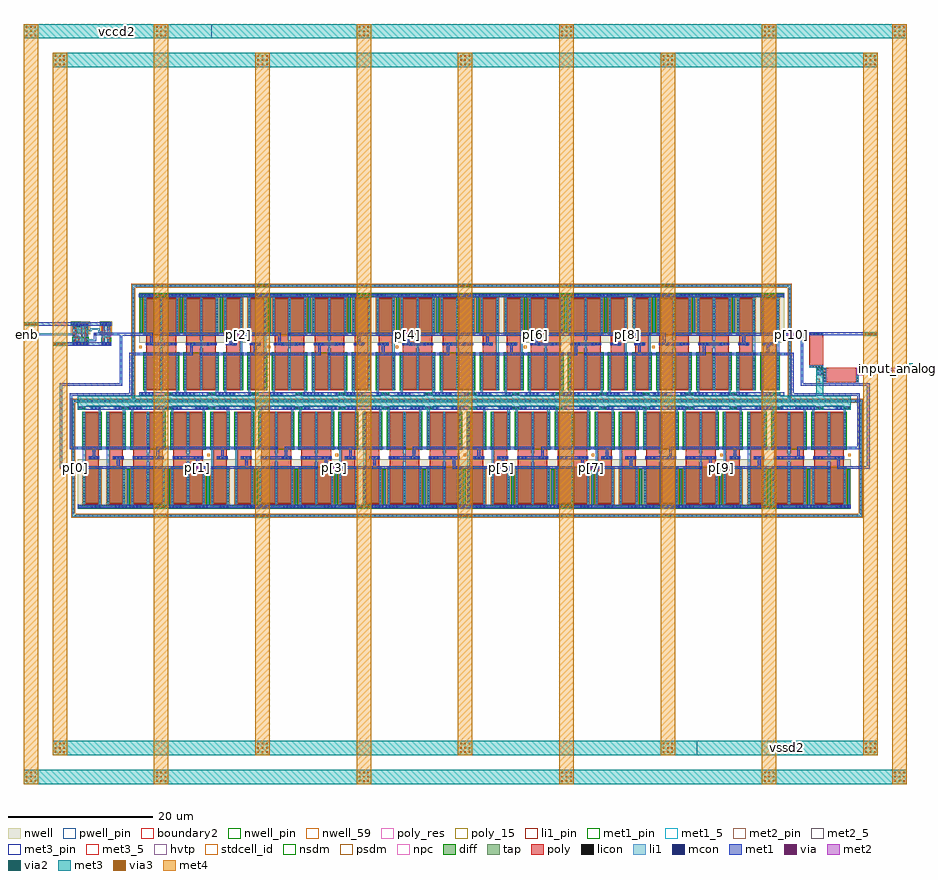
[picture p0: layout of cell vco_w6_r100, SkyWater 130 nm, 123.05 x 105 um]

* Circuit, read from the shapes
.subckt vco_w6_r100 enb input_analog p[0] p[10] p[1] p[2] p[3] p[4] p[5] p[6] p[7] p[8] p[9] vccd2 vssd2
XM1 vssd2 enb n1 vssd2 sky130_fd_pr__nfet_01v8 w=0.42 l=0.15
XM2 n2 enb vssd2 vssd2 sky130_fd_pr__nfet_01v8 w=0.65 l=0.15
XM3 p[0] vccd2 n2 vssd2 sky130_fd_pr__nfet_01v8 w=0.65 l=0.15
XM4 ring_osc_w6_0/v_ctr ring_osc_w6_0/pn[5] p[0] vssd2 sky130_fd_pr__nfet_01v8 w=5 l=1.9
XM5 ring_osc_w6_0/v_ctr p[0] ring_osc_w6_0/pn[5] vssd2 sky130_fd_pr__nfet_01v8 w=5 l=1.9
XM6 ring_osc_w6_0/pn[5] ring_osc_w6_0/pn[4] ring_osc_w6_0/v_ctr vssd2 sky130_fd_pr__nfet_01v8 w=5 l=1.9 m=2
XM7 p[2] p[0] ring_osc_w6_0/v_ctr vssd2 sky130_fd_pr__nfet_01v8 w=5 l=1.9 m=2
XM8 p[0] p[1] ring_osc_w6_0/v_ctr vssd2 sky130_fd_pr__nfet_01v8 w=5 l=1.9 m=2
XM9 ring_osc_w6_0/pn[6] ring_osc_w6_0/pn[5] ring_osc_w6_0/v_ctr vssd2 sky130_fd_pr__nfet_01v8 w=5 l=1.9 m=2
XM10 ring_osc_w6_0/v_ctr ring_osc_w6_0/pn[4] p[1] vssd2 sky130_fd_pr__nfet_01v8 w=5 l=1.9
XM11 ring_osc_w6_0/pn[6] p[2] ring_osc_w6_0/v_ctr vssd2 sky130_fd_pr__nfet_01v8 w=5 l=1.9
XM12 ring_osc_w6_0/v_ctr p[1] ring_osc_w6_0/pn[4] vssd2 sky130_fd_pr__nfet_01v8 w=5 l=1.9
XM13 p[2] ring_osc_w6_0/pn[6] ring_osc_w6_0/v_ctr vssd2 sky130_fd_pr__nfet_01v8 w=5 l=1.9
XM14 ring_osc_w6_0/pn[4] ring_osc_w6_0/pn[3] ring_osc_w6_0/v_ctr vssd2 sky130_fd_pr__nfet_01v8 w=5 l=1.9 m=2
XM15 p[4] p[2] ring_osc_w6_0/v_ctr vssd2 sky130_fd_pr__nfet_01v8 w=5 l=1.9 m=2
XM16 p[1] p[3] ring_osc_w6_0/v_ctr vssd2 sky130_fd_pr__nfet_01v8 w=5 l=1.9 m=2
XM17 ring_osc_w6_0/pn[7] ring_osc_w6_0/pn[6] ring_osc_w6_0/v_ctr vssd2 sky130_fd_pr__nfet_01v8 w=5 l=1.9 m=2
XM18 ring_osc_w6_0/v_ctr ring_osc_w6_0/pn[3] p[3] vssd2 sky130_fd_pr__nfet_01v8 w=5 l=1.9
XM19 ring_osc_w6_0/pn[7] p[4] ring_osc_w6_0/v_ctr vssd2 sky130_fd_pr__nfet_01v8 w=5 l=1.9
XM20 ring_osc_w6_0/v_ctr p[3] ring_osc_w6_0/pn[3] vssd2 sky130_fd_pr__nfet_01v8 w=5 l=1.9
XM21 p[4] ring_osc_w6_0/pn[7] ring_osc_w6_0/v_ctr vssd2 sky130_fd_pr__nfet_01v8 w=5 l=1.9
XM22 ring_osc_w6_0/pn[3] ring_osc_w6_0/pn[2] ring_osc_w6_0/v_ctr vssd2 sky130_fd_pr__nfet_01v8 w=5 l=1.9 m=2
XM23 p[6] p[4] ring_osc_w6_0/v_ctr vssd2 sky130_fd_pr__nfet_01v8 w=5 l=1.9 m=2
XM24 p[3] p[5] ring_osc_w6_0/v_ctr vssd2 sky130_fd_pr__nfet_01v8 w=5 l=1.9 m=2
XM25 ring_osc_w6_0/pn[8] ring_osc_w6_0/pn[7] ring_osc_w6_0/v_ctr vssd2 sky130_fd_pr__nfet_01v8 w=5 l=1.9 m=2
XM26 ring_osc_w6_0/v_ctr ring_osc_w6_0/pn[2] p[5] vssd2 sky130_fd_pr__nfet_01v8 w=5 l=1.9
XM27 ring_osc_w6_0/pn[8] p[6] ring_osc_w6_0/v_ctr vssd2 sky130_fd_pr__nfet_01v8 w=5 l=1.9
XM28 ring_osc_w6_0/v_ctr p[5] ring_osc_w6_0/pn[2] vssd2 sky130_fd_pr__nfet_01v8 w=5 l=1.9
XM29 p[6] ring_osc_w6_0/pn[8] ring_osc_w6_0/v_ctr vssd2 sky130_fd_pr__nfet_01v8 w=5 l=1.9
XM30 ring_osc_w6_0/pn[2] ring_osc_w6_0/pn[1] ring_osc_w6_0/v_ctr vssd2 sky130_fd_pr__nfet_01v8 w=5 l=1.9 m=2
XM31 p[8] p[6] ring_osc_w6_0/v_ctr vssd2 sky130_fd_pr__nfet_01v8 w=5 l=1.9 m=2
XM32 p[5] p[7] ring_osc_w6_0/v_ctr vssd2 sky130_fd_pr__nfet_01v8 w=5 l=1.9 m=2
XM33 ring_osc_w6_0/pn[9] ring_osc_w6_0/pn[8] ring_osc_w6_0/v_ctr vssd2 sky130_fd_pr__nfet_01v8 w=5 l=1.9 m=2
XM34 ring_osc_w6_0/v_ctr ring_osc_w6_0/pn[1] p[7] vssd2 sky130_fd_pr__nfet_01v8 w=5 l=1.9
XM35 ring_osc_w6_0/pn[9] p[8] ring_osc_w6_0/v_ctr vssd2 sky130_fd_pr__nfet_01v8 w=5 l=1.9
XM36 ring_osc_w6_0/v_ctr p[7] ring_osc_w6_0/pn[1] vssd2 sky130_fd_pr__nfet_01v8 w=5 l=1.9
XM37 p[8] ring_osc_w6_0/pn[9] ring_osc_w6_0/v_ctr vssd2 sky130_fd_pr__nfet_01v8 w=5 l=1.9
XM38 ring_osc_w6_0/pn[1] ring_osc_w6_0/pn[0] ring_osc_w6_0/v_ctr vssd2 sky130_fd_pr__nfet_01v8 w=5 l=1.9 m=2
XM39 p[10] p[8] ring_osc_w6_0/v_ctr vssd2 sky130_fd_pr__nfet_01v8 w=5 l=1.9 m=2
XM40 p[7] p[9] ring_osc_w6_0/v_ctr vssd2 sky130_fd_pr__nfet_01v8 w=5 l=1.9 m=2
XM41 ring_osc_w6_0/pn[10] ring_osc_w6_0/pn[9] ring_osc_w6_0/v_ctr vssd2 sky130_fd_pr__nfet_01v8 w=5 l=1.9 m=2
XM42 ring_osc_w6_0/v_ctr ring_osc_w6_0/pn[0] p[9] vssd2 sky130_fd_pr__nfet_01v8 w=5 l=1.9
XM43 ring_osc_w6_0/pn[10] p[10] ring_osc_w6_0/v_ctr vssd2 sky130_fd_pr__nfet_01v8 w=5 l=1.9
XM44 ring_osc_w6_0/v_ctr p[9] ring_osc_w6_0/pn[0] vssd2 sky130_fd_pr__nfet_01v8 w=5 l=1.9
XM45 p[10] ring_osc_w6_0/pn[10] ring_osc_w6_0/v_ctr vssd2 sky130_fd_pr__nfet_01v8 w=5 l=1.9
XM46 ring_osc_w6_0/pn[0] ring_osc_w6_0/pn[10] ring_osc_w6_0/v_ctr vssd2 sky130_fd_pr__nfet_01v8 w=5 l=1.9 m=2
XM47 p[9] p[10] ring_osc_w6_0/v_ctr vssd2 sky130_fd_pr__nfet_01v8 w=5 l=1.9 m=2
XM48 vccd2 enb n1 vccd2 sky130_fd_pr__pfet_01v8_hvt w=0.42 l=0.15
XM49 n3 n1 vccd2 vccd2 sky130_fd_pr__pfet_01v8_hvt w=1 l=0.15
XM50 p[0] vccd2 n3 vccd2 sky130_fd_pr__pfet_01v8_hvt w=1 l=0.15
XM51 vccd2 ring_osc_w6_0/pn[5] p[0] vccd2 sky130_fd_pr__pfet_01v8 w=5 l=1.9
XM52 vccd2 p[0] ring_osc_w6_0/pn[5] vccd2 sky130_fd_pr__pfet_01v8 w=5 l=1.9
XM53 ring_osc_w6_0/pn[5] ring_osc_w6_0/pn[4] vccd2 vccd2 sky130_fd_pr__pfet_01v8 w=5 l=1.9 m=2
XM54 p[2] p[0] vccd2 vccd2 sky130_fd_pr__pfet_01v8 w=5 l=1.9 m=2
XM55 p[0] p[1] vccd2 vccd2 sky130_fd_pr__pfet_01v8 w=5 l=1.9 m=2
XM56 ring_osc_w6_0/pn[6] ring_osc_w6_0/pn[5] vccd2 vccd2 sky130_fd_pr__pfet_01v8 w=5 l=1.9 m=2
XM57 vccd2 ring_osc_w6_0/pn[4] p[1] vccd2 sky130_fd_pr__pfet_01v8 w=5 l=1.9
XM58 ring_osc_w6_0/pn[6] p[2] vccd2 vccd2 sky130_fd_pr__pfet_01v8 w=5 l=1.9
XM59 vccd2 p[1] ring_osc_w6_0/pn[4] vccd2 sky130_fd_pr__pfet_01v8 w=5 l=1.9
XM60 p[2] ring_osc_w6_0/pn[6] vccd2 vccd2 sky130_fd_pr__pfet_01v8 w=5 l=1.9
XM61 ring_osc_w6_0/pn[4] ring_osc_w6_0/pn[3] vccd2 vccd2 sky130_fd_pr__pfet_01v8 w=5 l=1.9 m=2
XM62 p[4] p[2] vccd2 vccd2 sky130_fd_pr__pfet_01v8 w=5 l=1.9 m=2
XM63 p[1] p[3] vccd2 vccd2 sky130_fd_pr__pfet_01v8 w=5 l=1.9 m=2
XM64 ring_osc_w6_0/pn[7] ring_osc_w6_0/pn[6] vccd2 vccd2 sky130_fd_pr__pfet_01v8 w=5 l=1.9 m=2
XM65 vccd2 ring_osc_w6_0/pn[3] p[3] vccd2 sky130_fd_pr__pfet_01v8 w=5 l=1.9
XM66 ring_osc_w6_0/pn[7] p[4] vccd2 vccd2 sky130_fd_pr__pfet_01v8 w=5 l=1.9
XM67 vccd2 p[3] ring_osc_w6_0/pn[3] vccd2 sky130_fd_pr__pfet_01v8 w=5 l=1.9
XM68 p[4] ring_osc_w6_0/pn[7] vccd2 vccd2 sky130_fd_pr__pfet_01v8 w=5 l=1.9
XM69 ring_osc_w6_0/pn[3] ring_osc_w6_0/pn[2] vccd2 vccd2 sky130_fd_pr__pfet_01v8 w=5 l=1.9 m=2
XM70 p[6] p[4] vccd2 vccd2 sky130_fd_pr__pfet_01v8 w=5 l=1.9 m=2
XM71 p[3] p[5] vccd2 vccd2 sky130_fd_pr__pfet_01v8 w=5 l=1.9 m=2
XM72 ring_osc_w6_0/pn[8] ring_osc_w6_0/pn[7] vccd2 vccd2 sky130_fd_pr__pfet_01v8 w=5 l=1.9 m=2
XM73 vccd2 ring_osc_w6_0/pn[2] p[5] vccd2 sky130_fd_pr__pfet_01v8 w=5 l=1.9
XM74 ring_osc_w6_0/pn[8] p[6] vccd2 vccd2 sky130_fd_pr__pfet_01v8 w=5 l=1.9
XM75 vccd2 p[5] ring_osc_w6_0/pn[2] vccd2 sky130_fd_pr__pfet_01v8 w=5 l=1.9
XM76 p[6] ring_osc_w6_0/pn[8] vccd2 vccd2 sky130_fd_pr__pfet_01v8 w=5 l=1.9
XM77 ring_osc_w6_0/pn[2] ring_osc_w6_0/pn[1] vccd2 vccd2 sky130_fd_pr__pfet_01v8 w=5 l=1.9 m=2
XM78 p[8] p[6] vccd2 vccd2 sky130_fd_pr__pfet_01v8 w=5 l=1.9 m=2
XM79 p[5] p[7] vccd2 vccd2 sky130_fd_pr__pfet_01v8 w=5 l=1.9 m=2
XM80 ring_osc_w6_0/pn[9] ring_osc_w6_0/pn[8] vccd2 vccd2 sky130_fd_pr__pfet_01v8 w=5 l=1.9 m=2
XM81 vccd2 ring_osc_w6_0/pn[1] p[7] vccd2 sky130_fd_pr__pfet_01v8 w=5 l=1.9
XM82 ring_osc_w6_0/pn[9] p[8] vccd2 vccd2 sky130_fd_pr__pfet_01v8 w=5 l=1.9
XM83 vccd2 p[7] ring_osc_w6_0/pn[1] vccd2 sky130_fd_pr__pfet_01v8 w=5 l=1.9
XM84 p[8] ring_osc_w6_0/pn[9] vccd2 vccd2 sky130_fd_pr__pfet_01v8 w=5 l=1.9
XM85 ring_osc_w6_0/pn[1] ring_osc_w6_0/pn[0] vccd2 vccd2 sky130_fd_pr__pfet_01v8 w=5 l=1.9 m=2
XM86 p[10] p[8] vccd2 vccd2 sky130_fd_pr__pfet_01v8 w=5 l=1.9 m=2
XM87 p[7] p[9] vccd2 vccd2 sky130_fd_pr__pfet_01v8 w=5 l=1.9 m=2
XM88 ring_osc_w6_0/pn[10] ring_osc_w6_0/pn[9] vccd2 vccd2 sky130_fd_pr__pfet_01v8 w=5 l=1.9 m=2
XM89 vccd2 ring_osc_w6_0/pn[0] p[9] vccd2 sky130_fd_pr__pfet_01v8 w=5 l=1.9
XM90 ring_osc_w6_0/pn[10] p[10] vccd2 vccd2 sky130_fd_pr__pfet_01v8 w=5 l=1.9
XM91 vccd2 p[9] ring_osc_w6_0/pn[0] vccd2 sky130_fd_pr__pfet_01v8 w=5 l=1.9
XM92 p[10] ring_osc_w6_0/pn[10] vccd2 vccd2 sky130_fd_pr__pfet_01v8 w=5 l=1.9
XM93 ring_osc_w6_0/pn[0] ring_osc_w6_0/pn[10] vccd2 vccd2 sky130_fd_pr__pfet_01v8 w=5 l=1.9 m=2
XM94 p[9] p[10] vccd2 vccd2 sky130_fd_pr__pfet_01v8 w=5 l=1.9 m=2
R95 vssd2 ring_osc_w6_0/v_ctr sky130_fd_pr__res_generic_po w=2 l=4.15
R96 input_analog ring_osc_w6_0/v_ctr sky130_fd_pr__res_generic_po w=2 l=4.15
.ends

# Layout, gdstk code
from math import pi, radians
import gdstk
lib = gdstk.Library(unit=1e-6, precision=1e-09)
def R(c, l, rs):  # rectangles x0, y0, x1, y1
    for r in rs: c.add(gdstk.rectangle(r[:2], r[2:], *l))
def A(c, l, x, y, w, h, nx, ny, dx, dy):  # array of equal rectangles
    R(c, l, [(x+i*dx, y+j*dy, x+i*dx+w, y+j*dy+h) for i in range(nx) for j in range(ny)])
def P(c, l, *ps):  # polygons
    for p in ps: c.add(gdstk.Polygon(p, *l))
nwell_pin = (64, 16)
nwell = (64, 20)
nwell_59 = (64, 59)
diff = (65, 20)
tap = (65, 44)
poly_res = (66, 13)
poly_15 = (66, 15)
poly = (66, 20)
licon = (66, 44)
li1_pin = (67, 16)
li1 = (67, 20)
mcon = (67, 44)
met1_5 = (68, 5)
met1_pin = (68, 16)
met1 = (68, 20)
via = (68, 44)
met2_5 = (69, 5)
met2_pin = (69, 16)
met2 = (69, 20)
via2 = (69, 44)
met3_5 = (70, 5)
met3_pin = (70, 16)
met3 = (70, 20)
via3 = (70, 44)
met4 = (71, 20)
hvtp = (78, 44)
stdcell_id = (81, 4)
nsdm = (93, 44)
psdm = (94, 20)
npc = (95, 20)
pwell_pin = (122, 16)
boundary2 = (236, 0)

pfet_34 = lib.new_cell('pfet_34')
R(pfet_34, nwell, [(0,-0.01,3.86,6.87)])
R(pfet_34, diff, [(0.69,1.085,3.17,6.085)])
R(pfet_34, tap, [(0.18,6.52,3.68,6.69)])
R(pfet_34, poly, [(0.98,0.6,2.88,6.215)])
A(pfet_34, licon, 0.75, 1.28, 0.17, 0.17, 1, 13, 0, 0.37)
A(pfet_34, licon, 2.94, 1.28, 0.17, 0.17, 1, 13, 0, 0.37)
A(pfet_34, licon, 0.715, 6.52, 0.17, 0.17, 7, 1, 0.4, 0)
R(pfet_34, li1, [(0.69,1.06,0.98,6.52), (2.94,1.065,3.11,6.105), (0.18,6.52,3.68,6.69)])
R(pfet_34, nsdm, [(0.055,6.395,3.805,6.815)])
R(pfet_34, psdm, [(0.565,0.96,3.295,6.21)])

pfet_12 = lib.new_cell('pfet_12')
R(pfet_12, nwell, [(-0.98,-1.1,5.07,5.775)])
R(pfet_12, diff, [(-0.29,-0.005,4.38,4.995)])
R(pfet_12, tap, [(-0.8,0.395,-0.63,5.425), (4.72,0.395,4.89,5.425), (-0.8,5.425,4.89,5.595)])
R(pfet_12, poly, [(0,-0.49,1.9,5.125), (2.19,-0.49,4.09,5.125)])
A(pfet_12, licon, -0.23, 0.2, 0.17, 0.17, 3, 13, 2.19, 0.37)
A(pfet_12, licon, -0.8, 0.61, 0.17, 0.17, 1, 12, 0, 0.4)
A(pfet_12, licon, 4.72, 0.61, 0.17, 0.17, 1, 12, 0, 0.4)
A(pfet_12, licon, -0.285, 5.425, 0.17, 0.17, 12, 1, 0.4, 0)
R(pfet_12, li1, [(-0.29,-0.025,0,5.425), (1.96,-0.025,2.13,5.015), (4.09,-0.025,4.38,5.425), (-0.8,0.395,-0.63,5.425), (4.72,0.395,4.89,5.425), (-0.8,5.425,4.89,5.595)])
R(pfet_12, nsdm, [(-0.925,0.27,-0.505,5.3), (4.595,0.27,5.015,5.3), (-0.925,5.3,5.015,5.72)])
R(pfet_12, psdm, [(-0.415,-0.13,4.505,5.12)])

nfet_34 = lib.new_cell('nfet_34')
R(nfet_34, diff, [(-0.29,0,2.19,5)])
R(nfet_34, poly, [(0,-0.13,1.9,5.44)])
A(nfet_34, licon, -0.23, 0.185, 0.17, 0.17, 1, 6, 0, 0.37)
A(nfet_34, licon, 1.96, 0.185, 0.17, 0.17, 1, 6, 0, 0.37)
A(nfet_34, licon, -0.23, 2.415, 0.17, 0.17, 1, 7, 0, 0.37)
A(nfet_34, licon, 1.96, 2.415, 0.17, 0.17, 1, 7, 0, 0.37)
R(nfet_34, li1, [(-0.23,-0.02,-0.06,5.02), (1.96,-0.02,2.13,5.02)])
R(nfet_34, nsdm, [(-0.415,-0.125,2.315,5.125)])

nfet_12 = lib.new_cell('nfet_12')
R(nfet_12, diff, [(0,0,4.67,5)])
R(nfet_12, poly, [(0.29,-0.13,2.19,5.44), (2.48,-0.13,4.38,5.44)])
A(nfet_12, licon, 0.06, 0.195, 0.17, 0.17, 3, 6, 2.19, 0.37)
A(nfet_12, licon, 0.06, 2.425, 0.17, 0.17, 3, 7, 2.19, 0.37)
A(nfet_12, li1, 0.05, -0.02, 0.19, 5.04, 3, 1, 2.19, 0)
R(nfet_12, nsdm, [(-0.125,-0.125,4.795,5.125)])

inv = lib.new_cell('inv')
R(inv, nwell_59, [(-2,16.54,-1.64,16.9)])
R(inv, poly, [(-1.02,16.23,0.88,16.57), (1.17,16.23,3.07,16.57), (4.5,16.23,6.4,16.57), (6.69,16.23,8.59,16.57), (10.02,16.29,11.92,17.91), (13.35,16.29,15.25,17.91), (-1.02,16.57,3.07,17.67), (4.5,16.57,8.59,17.67), (-1.02,17.67,0.88,18), (1.17,17.67,3.07,18), (4.5,17.67,6.4,18), (6.69,17.67,8.59,18)])
A(inv, licon, -0.905, 17.015, 0.17, 0.17, 3, 1, 0.47, 0)
A(inv, licon, 1.845, 17.015, 0.17, 0.17, 3, 1, 0.47, 0)
A(inv, licon, 4.615, 17.015, 0.17, 0.17, 3, 1, 0.47, 0)
A(inv, licon, 7.365, 17.015, 0.17, 0.17, 3, 1, 0.47, 0)
A(inv, licon, 10.135, 17.015, 0.17, 0.17, 3, 1, 0.47, 0)
A(inv, licon, 13.465, 17.015, 0.17, 0.17, 3, 1, 0.47, 0)
R(inv, li1, [(-1.82,10.06,0.07,10.42), (1.86,10.06,5.71,10.42), (7.37,10.06,11.22,10.42), (13.06,10.06,14.46,10.42), (-1.31,10.42,-1.02,15.87), (3.07,10.42,3.36,15.87), (4.21,10.42,4.5,15.87), (8.59,10.42,8.88,15.87), (9.73,10.42,10.02,15.87), (13.06,10.42,13.35,15.87), (0.875,10.83,1.175,23.42), (6.395,10.83,6.695,23.42), (11.92,10.83,12.22,23.42), (15.25,10.83,15.55,23.42), (-0.1,16.87,0.28,16.92), (1.77,16.87,2.15,16.92), (5.42,16.87,5.8,16.92), (7.29,16.87,7.67,16.92), (10.94,16.87,11.32,16.92), (14.27,16.87,14.65,16.92), (-1.05,16.92,0.28,17.28), (1.77,16.92,3.1,17.28), (4.47,16.92,5.8,17.28), (7.29,16.92,8.62,17.28), (9.99,16.92,11.32,17.28), (13.32,16.92,14.65,17.28), (-0.1,17.28,0.28,17.33), (1.77,17.28,2.15,17.33), (5.42,17.28,5.8,17.33), (7.29,17.28,7.67,17.33), (10.94,17.28,11.32,17.33), (14.27,17.28,14.65,17.33), (-1.82,23.66,0.07,24.02), (1.86,23.66,5.71,24.02), (7.37,23.66,11.22,24.02), (13.06,23.66,14.46,24.02)])
A(inv, mcon, -1.695, 10.155, 0.17, 0.17, 4, 2, 0.49, 13.6)
A(inv, mcon, 1.985, 10.155, 0.17, 0.17, 8, 2, 0.49, 13.6)
A(inv, mcon, 7.495, 10.155, 0.17, 0.17, 8, 2, 0.49, 13.6)
A(inv, mcon, 13.185, 10.155, 0.17, 0.17, 3, 2, 0.49, 13.6)
A(inv, mcon, -0.985, 17.015, 0.17, 0.17, 3, 1, 0.49, 0)
A(inv, mcon, 1.885, 17.015, 0.17, 0.17, 3, 1, 0.49, 0)
A(inv, mcon, 4.535, 17.015, 0.17, 0.17, 3, 1, 0.49, 0)
A(inv, mcon, 7.405, 17.015, 0.17, 0.17, 3, 1, 0.49, 0)
A(inv, mcon, 10.055, 17.015, 0.17, 0.17, 3, 1, 0.49, 0)
A(inv, mcon, 13.385, 17.015, 0.17, 0.17, 3, 1, 0.49, 0)
R(inv, mcon, [(6.46,15.655,6.63,15.825), (11.985,15.655,12.155,15.825), (0.94,18.375,1.11,18.545), (15.315,18.375,15.485,18.545)])
R(inv, met1_5, [(6.3,10,6.78,10.48), (-1,15.56,-0.64,15.92), (14.87,15.56,15.23,15.92), (-1,18.28,-0.64,18.64), (14.87,18.28,15.23,18.64), (6.3,23.6,6.78,24.08)])
R(inv, met1, [(-2,10,16.23,10.48), (-2,15.56,5.385,15.92), (6.335,15.56,16.23,15.92), (5.025,15.92,5.385,16.92), (13.81,15.92,14.17,16.92), (-1.11,16.92,3.16,17.28), (4.41,16.92,8.68,17.28), (9.93,16.92,11.43,17.28), (13.26,16.92,14.76,17.28), (-0.5,17.28,-0.14,18.28), (10.48,17.28,10.84,18.28), (-2,18.28,-0.14,18.64), (0.815,18.28,16.23,18.64), (-2,23.6,16.23,24.08)])
R(inv, npc, [(-1.005,16.915,0.305,17.285), (1.745,16.915,3.055,17.285), (4.515,16.915,5.825,17.285), (7.265,16.915,8.575,17.285), (10.035,16.915,11.345,17.285), (13.365,16.915,14.675,17.285)])
inv.add(gdstk.Reference(pfet_34, (12.37,17.3)))
inv.add(gdstk.Reference(pfet_34, (9.04,17.3)))
inv.add(gdstk.Reference(pfet_12, (4.5,18.395)))
inv.add(gdstk.Reference(pfet_12, (-1.02,18.395)))
inv.add(gdstk.Reference(nfet_34, (13.35,10.85)))
inv.add(gdstk.Reference(nfet_34, (10.02,10.85)))
inv.add(gdstk.Reference(nfet_12, (4.21,10.85)))
inv.add(gdstk.Reference(nfet_12, (-1.31,10.85)))
inv.add(gdstk.Label('vccd', (6.54,23.84), layer=68, texttype=5))
inv.add(gdstk.Label('v_crt', (6.54,10.24), layer=68, texttype=5))
inv.add(gdstk.Label('inn', (-0.82,15.74), layer=68, texttype=5))
inv.add(gdstk.Label('inp', (-0.82,18.46), layer=68, texttype=5))
inv.add(gdstk.Label('outp', (15.05,18.46), layer=68, texttype=5))
inv.add(gdstk.Label('outn', (15.05,15.74), layer=68, texttype=5))
inv.add(gdstk.Label('vssd', (-1.82,16.72), layer=64, texttype=59))

sky130_fd_sc_hd__conb_1 = lib.new_cell('sky130_fd_sc_hd__conb_1')
R(sky130_fd_sc_hd__conb_1, nwell_pin, [(0.145,2.635,0.315,2.805)])
R(sky130_fd_sc_hd__conb_1, nwell, [(-0.19,1.305,1.57,2.91)])
R(sky130_fd_sc_hd__conb_1, poly_15, [(0.105,1.16,0.585,1.205), (0.795,1.16,1.275,1.205)])
R(sky130_fd_sc_hd__conb_1, poly, [(0.105,0.105,0.585,2.615), (0.795,0.105,1.275,2.615)])
R(sky130_fd_sc_hd__conb_1, licon, [(0.855,0.235,1.025,0.405), (0.355,0.255,0.525,0.425), (0.855,0.575,1.025,0.745), (0.355,0.595,0.525,0.765), (0.355,1.91,0.525,2.08), (0.855,1.91,1.025,2.08), (0.355,2.25,0.525,2.42), (0.855,2.25,1.025,2.42)])
R(sky130_fd_sc_hd__conb_1, li1_pin, [(0.335,1.125,0.505,1.295), (0.97,1.445,1.14,1.615)])
R(sky130_fd_sc_hd__conb_1, li1, [(0.085,0.255,0.605,1.74), (0.775,0.915,1.295,2.465)])
P(sky130_fd_sc_hd__conb_1, li1, [(1.38,0.085),(1.115,0.085),(1.115,0.745),(0.775,0.745),(0.775,0.085),(0,0.085),(0,-0.085),(1.38,-0.085)],
  [(1.38,2.805),(0,2.805),(0,2.635),(0.275,2.635),(0.275,1.91),(0.605,1.91),(0.605,2.635),(1.38,2.635)])
A(sky130_fd_sc_hd__conb_1, mcon, 0.145, -0.085, 0.17, 0.17, 3, 2, 0.46, 2.72)
R(sky130_fd_sc_hd__conb_1, met1_pin, [(0.145,-0.085,0.315,0.085), (0.145,2.635,0.315,2.805)])
R(sky130_fd_sc_hd__conb_1, hvtp, [(0,1.25,1.38,2.72)])
R(sky130_fd_sc_hd__conb_1, stdcell_id, [(0,0,1.38,2.72)])
R(sky130_fd_sc_hd__conb_1, nsdm, [(0,-0.19,1.38,1.015)])
R(sky130_fd_sc_hd__conb_1, psdm, [(0,2.53,1.38,2.91)])
R(sky130_fd_sc_hd__conb_1, npc, [(0.255,1.81,1.125,2.52)])
P(sky130_fd_sc_hd__conb_1, npc, [(1.38,1.345),(0,1.345),(0,0.905),(0.255,0.905),(0.255,0.135),(1.125,0.135),(1.125,0.905),(1.38,0.905)])
R(sky130_fd_sc_hd__conb_1, pwell_pin, [(0.145,-0.085,0.315,0.085)])
R(sky130_fd_sc_hd__conb_1, boundary2, [(0,0,1.38,2.72)])
sky130_fd_sc_hd__conb_1.add(gdstk.FlexPath([(0,0),(1.38,0)], 0.48, ends="flush", simple_path=True, layer=68, datatype=20))  # met1
sky130_fd_sc_hd__conb_1.add(gdstk.FlexPath([(0,2.72),(1.38,2.72)], 0.48, ends="flush", simple_path=True, layer=68, datatype=20))  # met1
sky130_fd_sc_hd__conb_1.add(gdstk.Label('LO', (1.055,1.53), layer=67, texttype=5))
sky130_fd_sc_hd__conb_1.add(gdstk.Label('HI', (0.42,1.21), layer=67, texttype=5))
sky130_fd_sc_hd__conb_1.add(gdstk.Label('VPB', (0.23,2.72), layer=64, texttype=5))
sky130_fd_sc_hd__conb_1.add(gdstk.Label('VNB', (0.23,0), layer=64, texttype=59))
sky130_fd_sc_hd__conb_1.add(gdstk.Label('VGND', (0.23,0), layer=68, texttype=5))
sky130_fd_sc_hd__conb_1.add(gdstk.Label('VPWR', (0.23,2.72), layer=68, texttype=5))
sky130_fd_sc_hd__conb_1.add(gdstk.Label('conb_1', (0,0), layer=83, texttype=44))
sky130_fd_sc_hd__conb_1.add(gdstk.Label('resistive_li1_ok', (0.225,1.365), layer=83, texttype=44))
sky130_fd_sc_hd__conb_1.add(gdstk.Label('resistive_li1_ok', (1.165,1.365), layer=83, texttype=44))
sky130_fd_sc_hd__conb_1.add(gdstk.Label('no_jumper_check', (0.93,1.29), layer=83, texttype=44))
sky130_fd_sc_hd__conb_1.add(gdstk.Label('no_jumper_check', (0.415,1.29), layer=83, texttype=44))

sky130_fd_sc_hd__einvp_1 = lib.new_cell('sky130_fd_sc_hd__einvp_1')
R(sky130_fd_sc_hd__einvp_1, nwell_pin, [(0.15,2.635,0.32,2.805)])
R(sky130_fd_sc_hd__einvp_1, nwell, [(-0.19,1.305,2.49,2.91)])
P(sky130_fd_sc_hd__einvp_1, diff, [(2.165,0.885),(0.62,0.885),(0.62,0.655),(0.135,0.655),(0.135,0.235),(2.165,0.235)],
  [(2.165,2.485),(0.135,2.485),(0.135,2.065),(0.62,2.065),(0.62,1.485),(2.165,1.485)])
R(sky130_fd_sc_hd__einvp_1, poly, [(0.11,1.015,0.395,1.025), (0.11,1.295,0.395,1.305)])
P(sky130_fd_sc_hd__einvp_1, poly, [(1.5,1.325),(1.38,1.325),(1.38,2.615),(1.23,2.615),(1.23,0.995),(1.5,0.995)],
  [(2.195,1.325),(1.895,1.325),(1.895,2.615),(1.745,2.615),(1.745,0.105),(1.895,0.105),(1.895,0.995),(2.195,0.995)],
  [(1.02,1.11),(0.545,1.11),(0.545,2.615),(0.395,2.615),(0.395,1.295),(0.11,1.295),(0.11,1.025),(0.395,1.025),(0.395,0.105),(0.545,0.105),(0.545,0.96),(0.87,0.96),(0.87,0.105),(1.02,0.105)])
R(sky130_fd_sc_hd__einvp_1, licon, [(0.595,0.275,0.765,0.445), (1.945,0.295,2.115,0.465), (0.175,0.36,0.345,0.53), (1.945,0.635,2.115,0.805), (0.19,1.075,0.36,1.245), (1.28,1.075,1.45,1.245), (1.975,1.075,2.145,1.245), (0.175,2.19,0.345,2.36), (1.955,2.215,2.125,2.385), (0.605,2.27,0.775,2.44), (0.945,2.27,1.115,2.44)])
A(sky130_fd_sc_hd__einvp_1, li1_pin, 1.99, 1.445, 0.17, 0.17, 1, 3, 0, 0.34)
R(sky130_fd_sc_hd__einvp_1, li1_pin, [(1.99,0.425,2.16,0.595), (0.15,1.105,0.32,1.275), (1.985,1.105,2.155,1.275), (0.15,1.445,0.32,1.615)])
R(sky130_fd_sc_hd__einvp_1, li1, [(1.975,0.975,2.215,1.955), (0.085,0.995,0.545,1.725)])
P(sky130_fd_sc_hd__einvp_1, li1, [(2.215,0.805),(1.795,0.805),(1.795,2.125),(2.215,2.125),(2.215,2.465),(1.62,2.465),(1.62,0.255),(2.215,0.255)],
  [(2.3,2.805),(0,2.805),(0,2.635),(0.515,2.635),(0.515,2.235),(1.45,2.235),(1.45,2.635),(2.3,2.635)],
  [(1.45,2.065),(0.345,2.065),(0.345,2.465),(0.085,2.465),(0.085,1.895),(0.715,1.895),(0.715,0.825),(0.085,0.825),(0.085,0.255),(0.345,0.255),(0.345,0.655),(1.45,0.655)],
  [(2.3,0.085),(1.45,0.085),(1.45,0.485),(0.515,0.485),(0.515,0.085),(0,0.085),(0,-0.085),(2.3,-0.085)])
A(sky130_fd_sc_hd__einvp_1, mcon, 0.145, -0.085, 0.17, 0.17, 5, 2, 0.46, 2.72)
R(sky130_fd_sc_hd__einvp_1, met1_pin, [(0.15,-0.085,0.32,0.085), (0.15,2.635,0.32,2.805)])
R(sky130_fd_sc_hd__einvp_1, hvtp, [(0,1.25,2.3,2.72)])
R(sky130_fd_sc_hd__einvp_1, stdcell_id, [(0,0,2.3,2.72)])
R(sky130_fd_sc_hd__einvp_1, nsdm, [(0,-0.19,2.3,1.015)])
R(sky130_fd_sc_hd__einvp_1, psdm, [(0,1.355,2.3,2.91)])
R(sky130_fd_sc_hd__einvp_1, npc, [(0,0.975,2.3,1.345)])
R(sky130_fd_sc_hd__einvp_1, pwell_pin, [(0.15,-0.085,0.32,0.085)])
R(sky130_fd_sc_hd__einvp_1, boundary2, [(0,0,2.3,2.72)])
sky130_fd_sc_hd__einvp_1.add(gdstk.FlexPath([(0,2.72),(2.3,2.72)], 0.48, ends="flush", simple_path=True, layer=68, datatype=20))  # met1
sky130_fd_sc_hd__einvp_1.add(gdstk.FlexPath([(0,0),(2.3,0)], 0.48, ends="flush", simple_path=True, layer=68, datatype=20))  # met1
sky130_fd_sc_hd__einvp_1.add(gdstk.Label('TE', (0.235,1.19), layer=67, texttype=5))
sky130_fd_sc_hd__einvp_1.add(gdstk.Label('TE', (0.235,1.53), layer=67, texttype=5))
sky130_fd_sc_hd__einvp_1.add(gdstk.Label('A', (2.07,1.19), layer=67, texttype=5))
sky130_fd_sc_hd__einvp_1.add(gdstk.Label('A', (2.075,1.87), layer=67, texttype=5))
sky130_fd_sc_hd__einvp_1.add(gdstk.Label('A', (2.075,1.53), layer=67, texttype=5))
sky130_fd_sc_hd__einvp_1.add(gdstk.Label('Z', (2.075,2.21), layer=67, texttype=5))
sky130_fd_sc_hd__einvp_1.add(gdstk.Label('Z', (2.075,0.51), layer=67, texttype=5))
sky130_fd_sc_hd__einvp_1.add(gdstk.Label('VPWR', (0.23,2.72), layer=68, texttype=5))
sky130_fd_sc_hd__einvp_1.add(gdstk.Label('VGND', (0.23,0), layer=68, texttype=5))
sky130_fd_sc_hd__einvp_1.add(gdstk.Label('VPB', (0.235,2.72), layer=64, texttype=5))
sky130_fd_sc_hd__einvp_1.add(gdstk.Label('VNB', (0.235,0), layer=64, texttype=59))
sky130_fd_sc_hd__einvp_1.add(gdstk.Label('einvp_1', (0,0), layer=83, texttype=44))

res_poly = lib.new_cell('res_poly')
R(res_poly, poly_res, [(0,0.365,2,4.515)])
R(res_poly, poly, [(0,0,2,4.88)])
A(res_poly, licon, 0.11, 0.09, 0.17, 0.17, 5, 2, 0.4, 4.515)
R(res_poly, li1, [(0,0,2,0.365), (0,4.515,2,4.88)])
R(res_poly, npc, [(0.01,-0.01,1.98,0.36), (0.01,4.505,1.98,4.875)])

ring_osc_w6 = lib.new_cell('ring_osc_w6')
R(ring_osc_w6, nwell, [(-0.81,25.6,0.19,25.71), (2.995,25.6,4.325,25.71), (-1,25.71,1.68,25.95), (2.995,25.71,4.755,25.95)])
R(ring_osc_w6, tap, [(-0.81,25.6,0.19,25.77), (3.185,25.6,4.185,25.77)])
R(ring_osc_w6, poly, [(102.5,19,103.365,19.5), (102.5,19.5,103,19.865)])
R(ring_osc_w6, licon, [(102.69,19.19,102.86,19.36), (-0.595,25.6,-0.425,25.77), (-0.195,25.6,-0.025,25.77), (3.4,25.6,3.57,25.77), (3.8,25.6,3.97,25.77)])
A(ring_osc_w6, li1, 101.1, 24.05, 0.3, 0.3, 4, 1, 0.5, 0)
R(ring_osc_w6, li1, [(102,18.5,103.365,19.5), (107.52,18.5,108.5,19.1), (107.52,19.1,107.595,19.375), (107.605,19.1,108.5,19.375), (107.52,19.375,108.5,19.5), (102,19.5,103,19.865), (1.405,23.18,2.51,23.48), (2.21,23.48,2.51,24.31), (-7.05,24,-0.27,24.3), (2.785,24.315,3.27,24.535), (1.405,24.53,1.9,24.74), (2.785,24.535,3.005,24.74), (1.405,24.74,3.005,24.75), (1.68,24.75,3.005,24.96), (-0.81,25.6,0.19,25.77), (3.185,25.6,4.25,25.605), (3.185,25.605,4.185,25.77)])
A(ring_osc_w6, mcon, 101.165, 24.115, 0.17, 0.17, 4, 1, 0.5, 0)
R(ring_osc_w6, mcon, [(102.155,18.665,102.325,18.835), (102.675,18.665,102.845,18.835), (107.67,18.665,107.84,18.835), (108.16,18.665,108.33,18.835), (107.67,19.165,107.84,19.335), (108.16,19.165,108.33,19.335), (102.155,19.185,102.325,19.355), (102.675,19.185,102.845,19.355), (2.275,24.075,2.445,24.245)])
R(ring_osc_w6, met1_5, [(53.25,5.53,53.61,5.89), (70.91,5.53,71.27,5.89), (-0.36,8.25,0,8.61), (17.77,8.25,18.13,8.61), (35.52,8.25,35.88,8.61), (53.17,8.25,53.53,8.61), (70.91,8.25,71.27,8.61), (88.64,8.25,89,8.61), (26.27,21.23,26.63,21.59), (43.99,21.23,44.35,21.59), (61.67,21.23,62.03,21.59), (79.39,21.23,79.75,21.59), (97.55,21.23,97.91,21.59), (-1,22.56,-0.52,23.04), (26.27,23.95,26.63,24.31), (61.67,23.95,62.03,24.31), (79.39,23.95,79.75,24.31), (97.55,23.95,97.91,24.31), (102.62,24.02,102.98,24.38), (-1,25.28,-0.52,25.76), (8.4,29.27,8.88,29.75)])
A(ring_osc_w6, met1, 0, 13.69, 1, 0.48, 18, 1, 6, 0)
A(ring_osc_w6, met1, 12, 15.67, 1, 0.48, 15, 1, 6, 0)
R(ring_osc_w6, met1, [(-2.51,5.53,-0.65,5.89), (53.25,5.53,53.61,5.89), (70.91,5.53,71.27,5.89), (106.78,5.53,109.36,5.89), (-2.51,5.89,-2.15,17), (109,5.89,109.36,17), (-1.15,8.25,0,8.61), (17.77,8.25,18.13,8.61), (35.52,8.25,35.88,8.61), (53.17,8.25,53.53,8.61), (70.91,8.25,71.27,8.61), (88.64,8.25,89,8.61), (106.335,8.25,108,8.61), (-1.15,8.61,-0.79,15.64), (107.64,8.61,108,15.64), (105.78,13.69,106.78,14.17), (-1.15,15.64,7.48,16), (98.5,15.64,108,16), (7.12,16,7.48,21.23), (98.5,16,98.86,21.23), (-2.51,17,6.12,17.36), (99.86,17,109.36,17.36), (5.76,17.36,6.12,23.95), (99.86,17.36,100.22,23.95), (102,18.5,103,19.515), (107.515,18.5,108.5,19.5), (7.12,21.23,8.51,21.59), (26.27,21.23,26.63,21.59), (43.99,21.23,44.35,21.59), (61.67,21.23,62.03,21.59), (79.39,21.23,79.75,21.59), (97.52,21.23,98.86,21.59), (-1,22.56,3.185,23.04), (5.76,23.95,8.49,24.01), (26.27,23.95,26.63,24.31), (61.67,23.95,62.03,24.31), (79.39,23.95,79.75,24.31), (97.54,23.95,98.11,24.31), (99.05,23.95,100.22,24.31), (2.18,24.01,8.49,24.31), (101,24.015,103.005,24.38), (-1,25.28,3.2,25.6), (-1,25.6,4.325,25.76), (8.4,29.27,9.57,29.75)])
A(ring_osc_w6, via, 0.055, 13.845, 0.15, 0.15, 3, 1, 0.37, 0)
A(ring_osc_w6, via, 6.055, 13.845, 0.15, 0.15, 3, 1, 0.37, 0)
A(ring_osc_w6, via, 12.055, 13.845, 0.15, 0.15, 3, 2, 0.37, 1.98)
A(ring_osc_w6, via, 18.055, 13.845, 0.15, 0.15, 3, 2, 0.37, 1.98)
A(ring_osc_w6, via, 24.055, 13.845, 0.15, 0.15, 3, 2, 0.37, 1.98)
A(ring_osc_w6, via, 30.055, 13.845, 0.15, 0.15, 3, 2, 0.37, 1.98)
A(ring_osc_w6, via, 36.055, 13.845, 0.15, 0.15, 3, 2, 0.37, 1.98)
A(ring_osc_w6, via, 42.055, 13.845, 0.15, 0.15, 3, 2, 0.37, 1.98)
A(ring_osc_w6, via, 48.055, 13.845, 0.15, 0.15, 3, 2, 0.37, 1.98)
A(ring_osc_w6, via, 54.055, 13.845, 0.15, 0.15, 3, 2, 0.37, 1.98)
A(ring_osc_w6, via, 60.055, 13.845, 0.15, 0.15, 3, 2, 0.37, 1.98)
A(ring_osc_w6, via, 66.055, 13.845, 0.15, 0.15, 3, 2, 0.37, 1.98)
A(ring_osc_w6, via, 72.055, 13.845, 0.15, 0.15, 3, 2, 0.37, 1.98)
A(ring_osc_w6, via, 78.055, 13.845, 0.15, 0.15, 3, 2, 0.37, 1.98)
A(ring_osc_w6, via, 84.055, 13.845, 0.15, 0.15, 3, 2, 0.37, 1.98)
A(ring_osc_w6, via, 90.055, 13.845, 0.15, 0.15, 3, 2, 0.37, 1.98)
A(ring_osc_w6, via, 96.055, 13.845, 0.15, 0.15, 3, 2, 0.37, 1.98)
A(ring_osc_w6, via, 102.055, 13.845, 0.15, 0.15, 3, 1, 0.37, 0)
A(ring_osc_w6, via, 105.835, 13.845, 0.15, 0.15, 3, 1, 0.37, 0)
R(ring_osc_w6, via, [(102.165,18.675,102.315,18.825), (102.685,18.675,102.835,18.825), (107.68,18.675,107.83,18.825), (108.17,18.675,108.32,18.825), (107.68,19.175,107.83,19.325), (108.17,19.175,108.32,19.325), (102.165,19.195,102.315,19.345), (102.685,19.195,102.835,19.345)])
R(ring_osc_w6, met2_5, [(108,19,108.5,19.5)])
A(ring_osc_w6, met2, 0, 13.72, 1, 0.4, 18, 1, 6, 0)
A(ring_osc_w6, met2, 12, 15.7, 1, 0.4, 15, 1, 6, 0)
R(ring_osc_w6, met2, [(105.78,13.72,106.78,14.12), (102,18.5,103,19.515), (107.515,18.5,108.5,19), (107.515,19,115.55,19.5)])
R(ring_osc_w6, via2, [(0.15,13.82,0.35,14.02), (0.65,13.82,0.85,14.02), (6.15,13.82,6.35,14.02), (6.65,13.82,6.85,14.02), (12.15,13.82,12.35,14.02), (12.65,13.82,12.85,14.02), (18.15,13.82,18.35,14.02), (18.65,13.82,18.85,14.02), (24.15,13.82,24.35,14.02), (24.65,13.82,24.85,14.02), (30.15,13.82,30.35,14.02), (30.65,13.82,30.85,14.02), (36.15,13.82,36.35,14.02), (36.65,13.82,36.85,14.02), (42.15,13.82,42.35,14.02), (42.65,13.82,42.85,14.02), (48.15,13.82,48.35,14.02), (48.65,13.82,48.85,14.02), (54.15,13.82,54.35,14.02), (54.65,13.82,54.85,14.02), (60.15,13.82,60.35,14.02), (60.65,13.82,60.85,14.02), (66.15,13.82,66.35,14.02), (66.65,13.82,66.85,14.02), (72.15,13.82,72.35,14.02), (72.65,13.82,72.85,14.02), (78.15,13.82,78.35,14.02), (78.65,13.82,78.85,14.02), (84.15,13.82,84.35,14.02), (84.65,13.82,84.85,14.02), (90.15,13.82,90.35,14.02), (90.65,13.82,90.85,14.02), (96.15,13.82,96.35,14.02), (96.65,13.82,96.85,14.02), (102.15,13.82,102.35,14.02), (102.65,13.82,102.85,14.02), (105.93,13.82,106.13,14.02), (106.43,13.82,106.63,14.02), (12.15,15.8,12.35,16), (12.65,15.8,12.85,16), (18.15,15.8,18.35,16), (18.65,15.8,18.85,16), (24.15,15.8,24.35,16), (24.65,15.8,24.85,16), (30.15,15.8,30.35,16), (30.65,15.8,30.85,16), (36.15,15.8,36.35,16), (36.65,15.8,36.85,16), (42.15,15.8,42.35,16), (42.65,15.8,42.85,16), (48.15,15.8,48.35,16), (48.65,15.8,48.85,16), (54.15,15.8,54.35,16), (54.65,15.8,54.85,16), (60.15,15.8,60.35,16), (60.65,15.8,60.85,16), (66.15,15.8,66.35,16), (66.65,15.8,66.85,16), (72.15,15.8,72.35,16), (72.65,15.8,72.85,16), (78.15,15.8,78.35,16), (78.65,15.8,78.85,16), (84.15,15.8,84.35,16), (84.65,15.8,84.85,16), (90.15,15.8,90.35,16), (90.65,15.8,90.85,16), (96.15,15.8,96.35,16), (96.65,15.8,96.85,16), (102.14,18.65,102.34,18.85), (102.66,18.65,102.86,18.85), (102.14,19.17,102.34,19.37), (102.66,19.17,102.86,19.37)])
R(ring_osc_w6, met3_5, [(102,17.49,102.51,18)])
A(ring_osc_w6, met3, 0, 13.69, 1, 0.48, 18, 1, 6, 0)
A(ring_osc_w6, met3, 12, 15.67, 1, 0.48, 15, 1, 6, 0)
R(ring_osc_w6, met3, [(105.78,13.69,106.78,14.17), (0,14.17,106.78,15.67), (102,15.67,103,19.515)])
R(ring_osc_w6, nsdm, [(-0.935,25.475,0.315,25.895), (3.06,25.475,4.31,25.895)])
R(ring_osc_w6, npc, [(102.59,19.09,102.96,19.46)])
ring_osc_w6.add(gdstk.Reference(inv, (16.23,24.17), rotation=pi))
ring_osc_w6.add(gdstk.Reference(inv, (33.94,24.17), rotation=pi))
ring_osc_w6.add(gdstk.Reference(inv, (51.65,24.17), rotation=pi))
ring_osc_w6.add(gdstk.Reference(inv, (69.36,24.17), rotation=pi))
ring_osc_w6.add(gdstk.Reference(inv, (87.07,24.17), rotation=pi))
ring_osc_w6.add(gdstk.Reference(inv, (104.78,24.17), rotation=pi))
ring_osc_w6.add(gdstk.Reference(inv, (10.48,5.67)))
ring_osc_w6.add(gdstk.Reference(sky130_fd_sc_hd__conb_1, (3.185,22.8)))
ring_osc_w6.add(gdstk.Reference(sky130_fd_sc_hd__einvp_1, (-0.81,22.8)))
ring_osc_w6.add(gdstk.Reference(inv, (28.19,5.67)))
ring_osc_w6.add(gdstk.Reference(inv, (45.9,5.67)))
ring_osc_w6.add(gdstk.Reference(inv, (63.61,5.67)))
ring_osc_w6.add(gdstk.Reference(inv, (81.32,5.67)))
ring_osc_w6.add(gdstk.Reference(res_poly, (101,19.5)))
ring_osc_w6.add(gdstk.Reference(res_poly, (103,19.5), rotation=3*pi/2))
ring_osc_w6.add(gdstk.Label('p[6]', (26.45,24.13), layer=68, texttype=5))
ring_osc_w6.add(gdstk.Label('p[10]', (97.73,24.13), layer=68, texttype=5))
ring_osc_w6.add(gdstk.Label('pn[0]', (88.82,8.43), layer=68, texttype=5))
ring_osc_w6.add(gdstk.Label('pn[1]', (71.09,8.43), layer=68, texttype=5))
ring_osc_w6.add(gdstk.Label('pn[2]', (53.35,8.43), layer=68, texttype=5))
ring_osc_w6.add(gdstk.Label('pn[3]', (35.7,8.43), layer=68, texttype=5))
ring_osc_w6.add(gdstk.Label('pn[4]', (17.95,8.43), layer=68, texttype=5))
ring_osc_w6.add(gdstk.Label('pn[5]', (-0.18,8.43), layer=68, texttype=5))
ring_osc_w6.add(gdstk.Label('pn[6]', (26.45,21.41), layer=68, texttype=5))
ring_osc_w6.add(gdstk.Label('pn[7]', (44.17,21.41), layer=68, texttype=5))
ring_osc_w6.add(gdstk.Label('pn[8]', (61.85,21.41), layer=68, texttype=5))
ring_osc_w6.add(gdstk.Label('pn[9]', (79.57,21.41), layer=68, texttype=5))
ring_osc_w6.add(gdstk.Label('pn[10]', (97.73,21.41), layer=68, texttype=5))
ring_osc_w6.add(gdstk.Label('input_analog', (108.25,19.25), layer=69, texttype=5))
ring_osc_w6.add(gdstk.Label('v_ctr', (102.255,17.745), layer=70, texttype=5))
ring_osc_w6.add(gdstk.Label('vssd2', (-0.76,22.8), layer=68, texttype=5))
ring_osc_w6.add(gdstk.Label('vccd2', (-0.76,25.52), layer=68, texttype=5))
ring_osc_w6.add(gdstk.Label('vccd2', (8.64,29.51), layer=68, texttype=5))
ring_osc_w6.add(gdstk.Label('vssd2', (102.8,24.2), layer=68, texttype=5))
ring_osc_w6.add(gdstk.Label('p[2]        ', (53.43,5.71), layer=68, texttype=5))
ring_osc_w6.add(gdstk.Label('p[1]        ', (71.09,5.71), layer=68, texttype=5))
ring_osc_w6.add(gdstk.Label('p[9]', (79.57,24.13), layer=68, texttype=5))
ring_osc_w6.add(gdstk.Label('p[8]', (61.85,24.13), layer=68, texttype=5))

via_m1 = lib.new_cell('via_m1')
R(via_m1, met1, [(54.62,34.78,56.36,35.26)])
A(via_m1, via, 54.695, 34.945, 0.15, 0.15, 5, 1, 0.36, 0)
R(via_m1, met2, [(54.49,34.78,56.49,35.26)])
A(via_m1, via2, 54.73, 34.92, 0.2, 0.2, 4, 1, 0.44, 0)
R(via_m1, met3, [(54.49,34.78,56.49,35.26)])
A(via_m1, via3, 54.73, 34.92, 0.2, 0.2, 4, 1, 0.44, 0)
R(via_m1, met4, [(54.49,34.78,56.49,35.26)])

via_m4_li = lib.new_cell('via_m4_li')
R(via_m4_li, li1, [(0,0.1,2,0.4)])
R(via_m4_li, mcon, [(0.175,0.165,0.345,0.335), (0.665,0.165,0.835,0.335), (1.165,0.165,1.335,0.335), (1.655,0.165,1.825,0.335)])
R(via_m4_li, met1, [(0.08,0.01,1.92,0.49)])
A(via_m4_li, via, 0.205, 0.175, 0.15, 0.15, 5, 1, 0.36, 0)
R(via_m4_li, met2, [(0,0.01,2,0.49)])
A(via_m4_li, via2, 0.24, 0.15, 0.2, 0.2, 4, 1, 0.44, 0)
R(via_m4_li, met3, [(0,0.01,2,0.49)])
A(via_m4_li, via3, 0.24, 0.15, 0.2, 0.2, 4, 1, 0.44, 0)
R(via_m4_li, met4, [(0,0.01,2,0.49)])

pwell_co_ring_w6 = lib.new_cell('pwell_co_ring_w6')
R(pwell_co_ring_w6, tap, [(-8.4,-31.8,100.7,-31.5), (-8.4,-31.5,-8.1,-15.93), (100.4,-31.5,100.7,-16), (100.4,-16,100.725,-15.93), (-8.4,-15.93,100.725,-15.63), (-0.1,-15.63,0.2,0), (90.6,-15.63,90.9,0), (-0.1,0,90.9,0.3)])
A(pwell_co_ring_w6, licon, -8.035, -31.735, 0.17, 0.17, 181, 1, 0.6, 0)
A(pwell_co_ring_w6, licon, 100.465, -30.865, 0.17, 0.17, 1, 25, 0, 0.6)
A(pwell_co_ring_w6, licon, -8.335, -30.765, 0.17, 0.17, 1, 25, 0, 0.6)
A(pwell_co_ring_w6, licon, -8.135, -15.865, 0.17, 0.17, 15, 1, 0.6, 0)
A(pwell_co_ring_w6, licon, 0.765, -15.865, 0.17, 0.17, 167, 1, 0.6, 0)
A(pwell_co_ring_w6, licon, -0.035, -14.835, 0.17, 0.17, 1, 25, 0, 0.6)
A(pwell_co_ring_w6, licon, 90.665, -14.835, 0.17, 0.17, 1, 25, 0, 0.6)
A(pwell_co_ring_w6, licon, 0.365, 0.065, 0.17, 0.17, 151, 1, 0.6, 0)
R(pwell_co_ring_w6, licon, [(100.465,-31.435,100.635,-31.265), (-8.335,-31.265,-8.165,-31.095), (-0.035,-15.335,0.135,-15.165), (90.665,-15.335,90.835,-15.165)])
R(pwell_co_ring_w6, li1, [(-8.4,-31.8,100.7,-31.5), (-8.4,-31.5,-8.1,-15.93), (100.4,-31.5,100.7,-16), (100.4,-16,100.725,-15.93), (-8.4,-15.93,100.725,-15.63), (-0.1,-15.63,0.2,0), (90.6,-15.63,90.9,0), (-0.1,0,90.9,0.3)])
R(pwell_co_ring_w6, psdm, [(-8.525,-31.925,100.825,-31.375), (-8.525,-31.375,-7.975,-16.055), (100.275,-31.375,100.825,-16.125), (100.275,-16.125,100.85,-16.055), (-8.525,-16.055,100.85,-15.505), (-0.225,-15.505,0.325,-0.125), (90.475,-15.505,91.025,-0.125), (-0.225,-0.125,91.025,0.425)])

power_ring = lib.new_cell('power_ring')
R(power_ring, met3, [(0,0,122,2), (4,4,118,6), (4,99,118,101), (0,103,122,105)])
A(power_ring, via3, 0.3, 0.3, 0.2, 0.2, 3, 3, 0.6, 0.6)
A(power_ring, via3, 18.3, 0.3, 0.2, 0.2, 3, 3, 0.6, 0.6)
A(power_ring, via3, 46.3, 0.3, 0.2, 0.2, 3, 3, 0.6, 0.6)
A(power_ring, via3, 74.3, 0.3, 0.2, 0.2, 3, 3, 0.6, 0.6)
A(power_ring, via3, 102.3, 0.3, 0.2, 0.2, 3, 3, 0.6, 0.6)
A(power_ring, via3, 120.3, 0.3, 0.2, 0.2, 3, 3, 0.6, 0.6)
A(power_ring, via3, 4.3, 4.3, 0.2, 0.2, 3, 3, 0.6, 0.6)
A(power_ring, via3, 32.3, 4.3, 0.2, 0.2, 3, 3, 0.6, 0.6)
A(power_ring, via3, 60.3, 4.3, 0.2, 0.2, 3, 3, 0.6, 0.6)
A(power_ring, via3, 88.3, 4.3, 0.2, 0.2, 3, 3, 0.6, 0.6)
A(power_ring, via3, 116.3, 4.3, 0.2, 0.2, 3, 3, 0.6, 0.6)
A(power_ring, via3, 4.3, 99.3, 0.2, 0.2, 3, 3, 0.6, 0.6)
A(power_ring, via3, 32.3, 99.3, 0.2, 0.2, 3, 3, 0.6, 0.6)
A(power_ring, via3, 60.3, 99.3, 0.2, 0.2, 3, 3, 0.6, 0.6)
A(power_ring, via3, 88.3, 99.3, 0.2, 0.2, 3, 3, 0.6, 0.6)
A(power_ring, via3, 116.3, 99.3, 0.2, 0.2, 3, 3, 0.6, 0.6)
A(power_ring, via3, 0.3, 103.3, 0.2, 0.2, 3, 3, 0.6, 0.6)
A(power_ring, via3, 18.3, 103.3, 0.2, 0.2, 3, 3, 0.6, 0.6)
A(power_ring, via3, 46.3, 103.3, 0.2, 0.2, 3, 3, 0.6, 0.6)
A(power_ring, via3, 74.3, 103.3, 0.2, 0.2, 3, 3, 0.6, 0.6)
A(power_ring, via3, 102.3, 103.3, 0.2, 0.2, 3, 3, 0.6, 0.6)
A(power_ring, via3, 120.3, 103.3, 0.2, 0.2, 3, 3, 0.6, 0.6)
A(power_ring, met4, 18, 0, 2, 105, 4, 1, 28, 0)
A(power_ring, met4, 4, 4, 2, 97, 5, 1, 28, 0)
R(power_ring, met4, [(0,0,2,105), (120,0,122,105)])

vco_w6_r100 = lib.new_cell('vco_w6_r100')
R(vco_w6_r100, diff, [(8.135,61.29,8.305,61.46), (8.135,62.91,8.305,63.08)])
R(vco_w6_r100, li1, [(0.31,61.8,0.71,62.03), (7.48,61.92,7.605,62.09), (0.31,62.03,0.79,62.3), (11.54,62.71,11.765,62.93), (9.55,62.74,9.775,62.96)])
R(vco_w6_r100, mcon, [(0.425,61.965,0.595,62.135)])
R(vco_w6_r100, met1_pin, [(0.31,61.89,0.71,62.29)])
R(vco_w6_r100, met1, [(6.13,43.53,7.81,43.89), (23.87,43.53,24.29,43.89), (42.8,43.53,43.22,43.89), (65.8,43.53,66.22,43.89), (78.22,43.53,78.64,43.89), (96.16,43.53,96.58,43.89), (4,60.56,9.81,61.04), (0.31,61.74,0.71,62.42), (29.49,61.95,29.85,62.31), (52.84,61.95,53.26,62.31), (70.55,61.95,70.97,62.31), (83.28,61.95,83.7,62.31), (105.41,61.95,106.91,62.31), (108.61,62.02,118,62.38), (0,63.28,9.97,63.76)])
R(vco_w6_r100, via, [(7.055,43.635,7.205,43.785), (24.005,43.635,24.155,43.785), (42.935,43.635,43.085,43.785), (65.935,43.635,66.085,43.785), (78.355,43.635,78.505,43.785), (96.295,43.635,96.445,43.785), (29.595,62.055,29.745,62.205), (52.975,62.055,53.125,62.205), (70.685,62.055,70.835,62.205), (83.415,62.055,83.565,62.205), (105.955,62.055,106.105,62.205)])
R(vco_w6_r100, met2_pin, [(6.92,43.5,7.34,43.92), (23.87,43.5,24.29,43.92), (42.8,43.5,43.22,43.92), (65.8,43.5,66.22,43.92), (78.22,43.5,78.64,43.92), (96.16,43.5,96.58,43.92), (122.34,57.21,122.84,57.71), (29.46,61.92,29.88,62.34), (52.84,61.92,53.26,62.34), (70.55,61.92,70.97,62.34), (83.28,61.92,83.7,62.34), (105.82,61.92,106.24,62.34)])
R(vco_w6_r100, met2, [(6.67,43.48,7.59,43.94), (23.62,43.48,24.54,43.94), (42.55,43.48,43.47,43.94), (65.55,43.48,66.47,43.94), (77.97,43.48,78.89,43.94), (95.91,43.48,96.83,43.94), (122.13,57.21,123.05,57.71), (29.21,61.9,30.13,62.36), (52.59,61.9,53.51,62.36), (70.3,61.9,71.22,62.36), (83.03,61.9,83.95,62.36), (105.57,61.9,106.49,62.36)])
R(vco_w6_r100, via2, [(122.49,57.36,122.69,57.56)])
R(vco_w6_r100, met3_pin, [(93,4,118,6), (0,103,26,105)])
R(vco_w6_r100, met3, [(93,4,118,6), (122.32,56.78,122.86,58.14), (0,103,26,105)])
R(vco_w6_r100, nsdm, [(8.01,61.165,8.43,61.585)])
R(vco_w6_r100, psdm, [(8.01,62.785,8.43,63.205)])
vco_w6_r100.add(gdstk.Reference(ring_osc_w6, (7.5,38)))
vco_w6_r100.add(gdstk.Reference(via_m1, (-36.49,3.31)))
vco_w6_r100.add(gdstk.Reference(via_m1, (-8.49,3.31)))
vco_w6_r100.add(gdstk.Reference(via_m1, (19.51,3.31)))
vco_w6_r100.add(gdstk.Reference(via_m1, (47.51,3.31)))
vco_w6_r100.add(gdstk.Reference(via_m4_li, (32,36.8)))
vco_w6_r100.add(gdstk.Reference(via_m4_li, (60,36.8)))
vco_w6_r100.add(gdstk.Reference(pwell_co_ring_w6, (15.1,68.7)))
vco_w6_r100.add(gdstk.Reference(via_m1, (-36.49,32.49)))
vco_w6_r100.add(gdstk.Reference(via_m1, (-50.49,25.78)))
vco_w6_r100.add(gdstk.Reference(via_m1, (-54.49,28.5)))
vco_w6_r100.add(gdstk.Reference(via_m4_li, (32,68.6)))
vco_w6_r100.add(gdstk.Reference(via_m1, (-8.49,32.49)))
vco_w6_r100.add(gdstk.Reference(via_m4_li, (60,68.6)))
vco_w6_r100.add(gdstk.Reference(via_m1, (19.51,32.49)))
vco_w6_r100.add(gdstk.Reference(via_m4_li, (88,68.6)))
vco_w6_r100.add(gdstk.Reference(via_m1, (47.51,32.49)))
vco_w6_r100.add(gdstk.Reference(via_m1, (61.51,27.18)))
vco_w6_r100.add(gdstk.Reference(power_ring, (0,0)))
vco_w6_r100.add(gdstk.Label('p[9]', (96.37,43.71), layer=69, texttype=16))
vco_w6_r100.add(gdstk.Label('p[7]', (78.43,43.71), layer=69, texttype=16))
vco_w6_r100.add(gdstk.Label('p[5]', (66.01,43.71), layer=69, texttype=16))
vco_w6_r100.add(gdstk.Label('p[3]', (43.01,43.71), layer=69, texttype=16))
vco_w6_r100.add(gdstk.Label('p[1]', (24.08,43.71), layer=69, texttype=16))
vco_w6_r100.add(gdstk.Label('p[0]', (7.13,43.71), layer=69, texttype=16))
vco_w6_r100.add(gdstk.Label('p[2]', (29.67,62.13), layer=69, texttype=16))
vco_w6_r100.add(gdstk.Label('p[4]', (53.05,62.13), layer=69, texttype=16))
vco_w6_r100.add(gdstk.Label('p[6]', (70.76,62.13), layer=69, texttype=16))
vco_w6_r100.add(gdstk.Label('p[8]', (83.49,62.13), layer=69, texttype=16))
vco_w6_r100.add(gdstk.Label('p[10]', (106.03,62.13), layer=69, texttype=16))
vco_w6_r100.add(gdstk.Label('enb', (0.51,62.09), layer=68, texttype=16))
vco_w6_r100.add(gdstk.Label('input_analog', (122.59,57.46), layer=69, texttype=16))
vco_w6_r100.add(gdstk.Label('vccd2', (13,104), layer=70, texttype=16))
vco_w6_r100.add(gdstk.Label('vssd2', (105.5,5), layer=70, texttype=16))

lib.write_gds('vco_w6_r100.gds')
